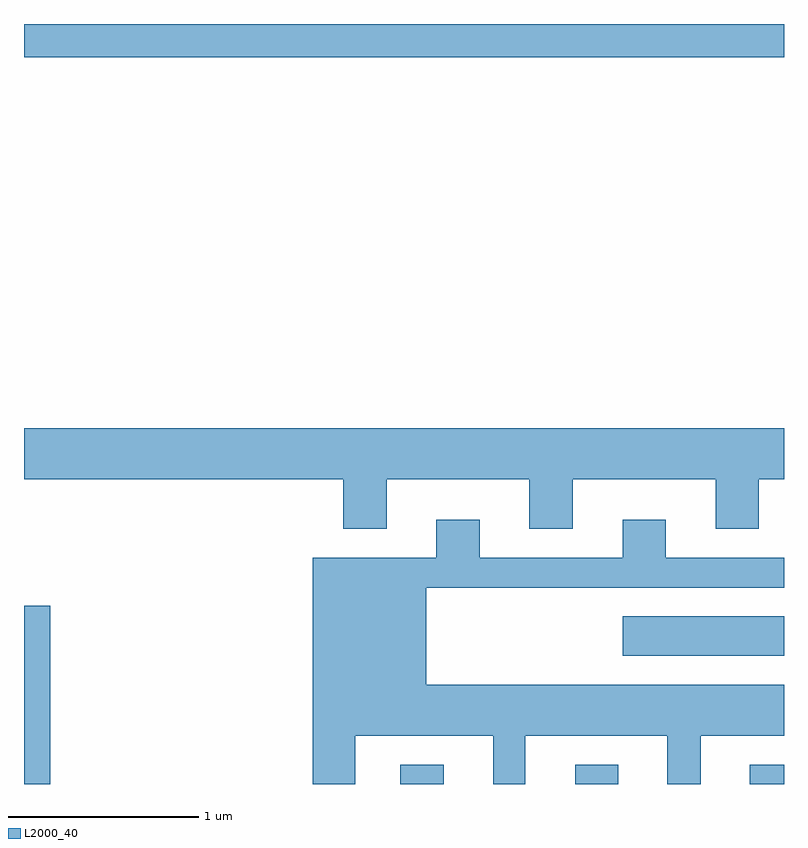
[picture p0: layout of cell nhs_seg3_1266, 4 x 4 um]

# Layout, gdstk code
import gdstk
lib = gdstk.Library(unit=1e-6, precision=1e-09)
def R(c, l, rs):  # rectangles x0, y0, x1, y1
    for r in rs: c.add(gdstk.rectangle(r[:2], r[2:], *l))
def P(c, l, *ps):  # polygons
    for p in ps: c.add(gdstk.Polygon(p, *l))
L2000_40 = (2000, 40)

nhs_seg3_1266 = lib.new_cell('nhs_seg3_1266')
R(nhs_seg3_1266, L2000_40, [(221.611,1199.892,221.749,1200.829), (223.591,1199.892,223.819,1199.994), (224.511,1199.892,224.739,1199.994), (225.431,1199.892,225.611,1199.994), (224.761,1200.566,225.611,1200.774), (221.611,1203.716,225.611,1203.892)])
P(nhs_seg3_1266, L2000_40, [(223.519,1201.496),(224.271,1201.496),(224.271,1201.236),(224.499,1201.236),(224.499,1201.496),(225.251,1201.496),(225.251,1201.236),(225.479,1201.236),(225.479,1201.496),(225.611,1201.496),(225.611,1201.764),(221.611,1201.764),(221.611,1201.496),(223.291,1201.496),(223.291,1201.236),(223.519,1201.236)],
  [(223.354,1200.146),(224.081,1200.146),(224.081,1199.892),(224.249,1199.892),(224.249,1200.146),(224.996,1200.146),(224.996,1199.892),(225.174,1199.892),(225.174,1200.146),(225.611,1200.146),(225.611,1200.414),(223.729,1200.414),(223.729,1200.926),(225.611,1200.926),(225.611,1201.084),(224.989,1201.084),(224.989,1201.284),(224.761,1201.284),(224.761,1201.084),(224.009,1201.084),(224.009,1201.284),(223.781,1201.284),(223.781,1201.084),(223.131,1201.084),(223.131,1199.892),(223.354,1199.892)])

lib.write_gds('nhs_seg3_1266.gds')
